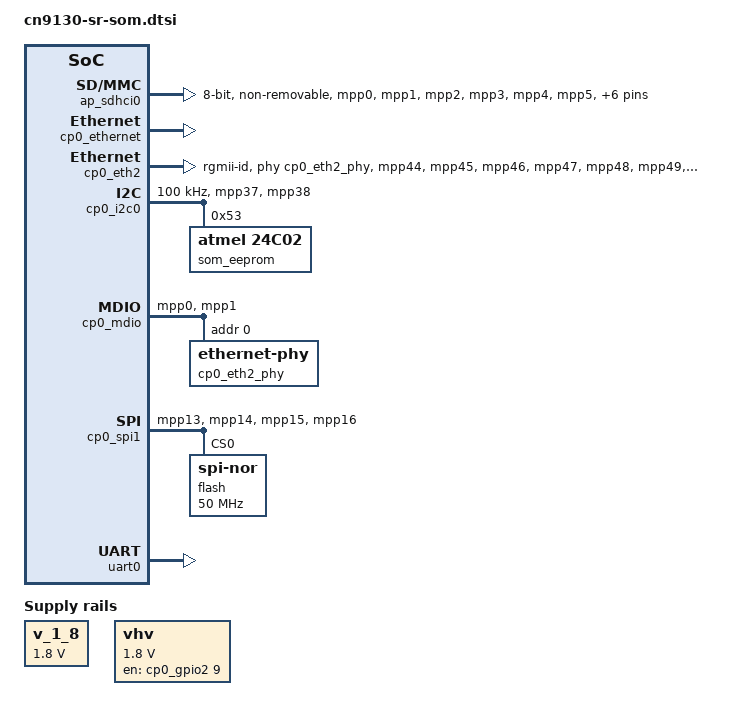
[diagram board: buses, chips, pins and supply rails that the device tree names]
// SPDX-License-Identifier: (GPL-2.0+ OR MIT)
/*
 * Copyright (C) 2024 Josua Mayer <josua@solid-run.com>
 *
 */

#include <dt-bindings/gpio/gpio.h>

/ {
	aliases {
		ethernet0 = &cp0_eth0;
		ethernet1 = &cp0_eth1;
		ethernet2 = &cp0_eth2;
		i2c0 = &cp0_i2c0;
		mmc0 = &ap_sdhci0;
		rtc0 = &cp0_rtc;
	};

	chosen {
		stdout-path = "serial0:115200n8";
	};

	v_1_8: regulator-1-8 {
		compatible = "regulator-fixed";
		regulator-name = "1v8";
		regulator-min-microvolt = <1800000>;
		regulator-max-microvolt = <1800000>;
	};

	/* requires assembly of R9307 */
	vhv: regulator-vhv-1-8 {
		compatible = "regulator-fixed";
		regulator-name = "vhv-1v8";
		regulator-min-microvolt = <1800000>;
		regulator-max-microvolt = <1800000>;
		pinctrl-0 = <&cp0_reg_vhv_pins>;
		pinctrl-names = "default";
		gpios = <&cp0_gpio2 9 GPIO_ACTIVE_HIGH>;
		enable-active-high;
	};
};

&ap_pinctrl {
	ap_mmc0_pins: ap-mmc0-pins {
		marvell,pins = "mpp0", "mpp1", "mpp2", "mpp3", "mpp4", "mpp5",
					   "mpp6", "mpp7", "mpp8", "mpp9", "mpp10", "mpp12";
		marvell,function = "sdio";
		/*
		 * mpp12 is emmc reset, function should be sdio (hw_rst),
		 * but pinctrl-mvebu does not support this.
		 *
		 * From pinctrl-mvebu.h:
		 * "The name will be used to switch to this setting in DT description, e.g.
		 * marvell,function = "uart2". subname is only for debugging purposes."
		 */
	};
};

&ap_sdhci0 {
	bus-width = <8>;
	pinctrl-0 = <&ap_mmc0_pins>;
	pinctrl-names = "default";
	vqmmc-supply = <&v_1_8>;
	no-sdio;
	non-removable;
	status = "okay";
};

&cp0_ethernet {
	status = "okay";
};

/* for assembly with phy */
&cp0_eth2 {
	pinctrl-names = "default";
	pinctrl-0 = <&cp0_eth2_pins>;
	phy-mode = "rgmii-id";
	phy = <&cp0_eth2_phy>;
	status = "okay";
};

&cp0_i2c0 {
	pinctrl-names = "default";
	pinctrl-0 = <&cp0_i2c0_pins>;
	clock-frequency = <100000>;
	status = "okay";

	som_eeprom: eeprom@53 {
		compatible = "atmel,24c02";
		reg = <0x53>;
		pagesize = <8>;
	};
};

&cp0_mdio {
	pinctrl-0 = <&cp0_mdio_pins>;
	status = "okay";

	/* assembly option */
	cp0_eth2_phy: ethernet-phy@0 {
		reg = <0>;
	};
};

&cp0_spi1 {
	status = "okay";
	pinctrl-names = "default";
	pinctrl-0 = <&cp0_spi1_pins>;
	/* max speed limited by a mux */
	spi-max-frequency = <1800000000>;

	flash@0 {
		compatible = "jedec,spi-nor";
		reg = <0>;
		/* read command supports max. 50MHz */
		spi-max-frequency = <50000000>;
	};
};

&cp0_syscon0 {
	cp0_pinctrl: pinctrl {
		compatible = "marvell,cp115-standalone-pinctrl";

		cp0_eth2_pins: cp0-ge2-rgmii-pins {
			marvell,pins = "mpp44", "mpp45", "mpp46", "mpp47",
				       "mpp48", "mpp49", "mpp50", "mpp51",
				       "mpp52", "mpp53", "mpp54", "mpp55";
			/* docs call it "ge2", but cp110-pinctrl "ge1" */
			marvell,function = "ge1";
		};

		cp0_i2c0_pins: cp0-i2c0-pins {
			marvell,pins = "mpp37", "mpp38";
			marvell,function = "i2c0";
		};

		cp0_mdio_pins: cp0-mdio-pins {
			marvell,pins = "mpp0", "mpp1";
			marvell,function = "ge";
		};

		cp0_spi1_pins: cp0-spi1-pins {
			marvell,pins = "mpp13", "mpp14", "mpp15", "mpp16";
			marvell,function = "spi1";
		};

		cp0_reg_vhv_pins: cp0-reg-vhv-pins {
			marvell,pins = "mpp41";
			marvell,function = "gpio";
		};
	};
};

/* AP default console */
&uart0 {
	pinctrl-0 = <&uart0_pins>;
	pinctrl-names = "default";
	status = "okay";
};
